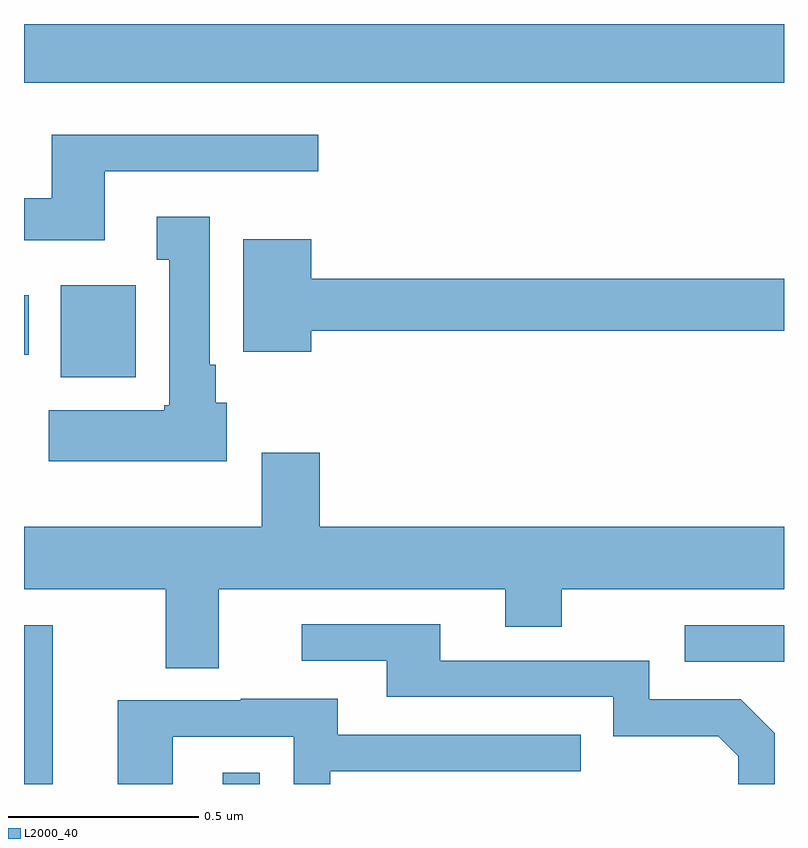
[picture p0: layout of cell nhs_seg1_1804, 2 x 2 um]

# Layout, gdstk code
import gdstk
lib = gdstk.Library(unit=1e-6, precision=1e-09)
def R(c, l, rs):  # rectangles x0, y0, x1, y1
    for r in rs: c.add(gdstk.rectangle(r[:2], r[2:], *l))
def P(c, l, *ps):  # polygons
    for p in ps: c.add(gdstk.Polygon(p, *l))
L2000_40 = (2000, 40)

nhs_seg1_1804 = lib.new_cell('nhs_seg1_1804')
R(nhs_seg1_1804, L2000_40, [(133,571.199,133.075,571.617), (133.523,571.199,133.62,571.228), (134.739,571.521,135,571.617), (133.097,572.27,133.294,572.512), (133,572.329,133.012,572.485), (133,573.044,135,573.199)])
P(nhs_seg1_1804, L2000_40, [(133.213,572.811),(133.774,572.811),(133.774,572.908),(133.073,572.908),(133.073,572.74),(133,572.74),(133,572.63),(133.213,572.63)],
  [(133.534,572.202),(133.504,572.202),(133.504,572.302),(133.489,572.302),(133.489,572.692),(133.349,572.692),(133.349,572.579),(133.382,572.579),(133.382,572.196),(133.369,572.196),(133.369,572.182),(133.065,572.182),(133.065,572.048),(133.534,572.048)],
  [(133.756,572.392),(135,572.392),(135,572.528),(133.756,572.528),(133.756,572.632),(133.577,572.632),(133.577,572.336),(133.756,572.336)],
  [(133.513,571.712),(134.267,571.712),(134.267,571.613),(134.415,571.613),(134.415,571.712),(135,571.712),(135,571.876),(133.778,571.876),(133.778,572.071),(133.625,572.071),(133.625,571.876),(133,571.876),(133,571.712),(133.373,571.712),(133.373,571.504),(133.513,571.504)],
  [(134.976,571.332),(134.886,571.422),(134.646,571.422),(134.646,571.524),(134.095,571.524),(134.095,571.62),(133.731,571.62),(133.731,571.524),(133.955,571.524),(133.955,571.428),(134.55,571.428),(134.55,571.325),(134.827,571.325),(134.88,571.272),(134.88,571.199),(134.976,571.199)],
  [(133.392,571.323),(133.71,571.323),(133.71,571.199),(133.806,571.199),(133.806,571.233),(134.465,571.233),(134.465,571.329),(133.825,571.329),(133.825,571.423),(133.571,571.423),(133.571,571.419),(133.247,571.419),(133.247,571.199),(133.392,571.199)])

lib.write_gds('nhs_seg1_1804.gds')
